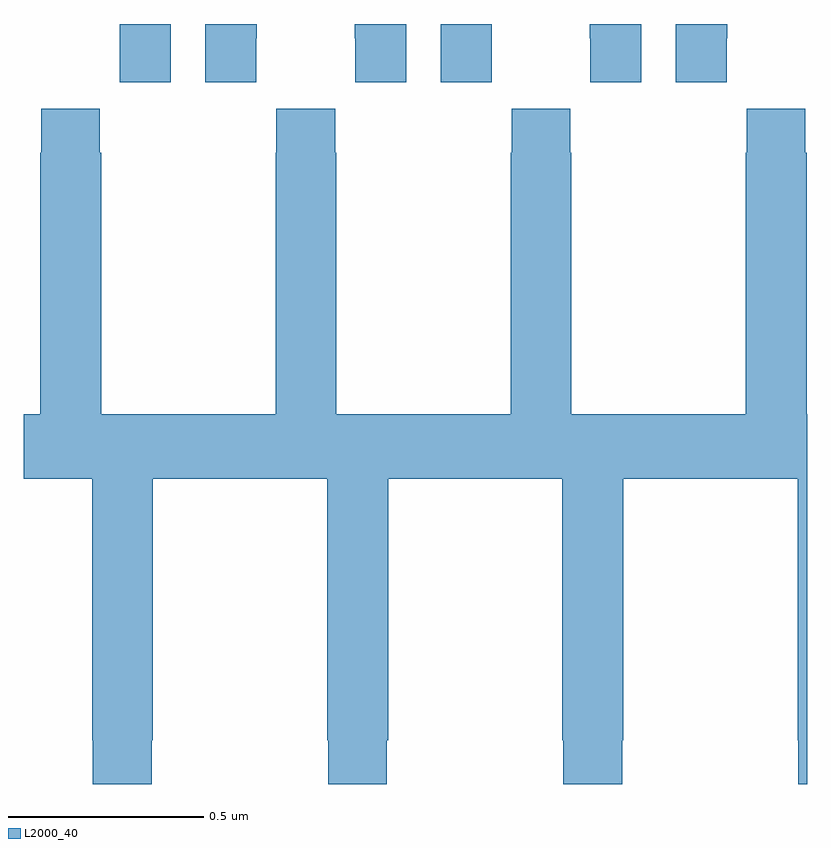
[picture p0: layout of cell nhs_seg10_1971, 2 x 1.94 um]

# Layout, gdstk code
import gdstk
lib = gdstk.Library(unit=1e-6, precision=1e-09)
def P(c, l, *ps):  # polygons
    for p in ps: c.add(gdstk.Polygon(p, *l))
L2000_40 = (2000, 40)

nhs_seg10_1971 = lib.new_cell('nhs_seg10_1971')
P(nhs_seg10_1971, L2000_40, [(135.376,1277.5),(135.245,1277.5),(135.245,1277.464),(135.246,1277.464),(135.246,1277.352),(135.376,1277.352)],
  [(135.594,1277.464),(135.595,1277.464),(135.595,1277.5),(135.464,1277.5),(135.464,1277.352),(135.594,1277.352)],
  [(135.976,1277.5),(135.845,1277.5),(135.845,1277.464),(135.846,1277.464),(135.846,1277.352),(135.976,1277.352)],
  [(136.194,1277.464),(136.195,1277.464),(136.195,1277.5),(136.064,1277.5),(136.064,1277.352),(136.194,1277.352)],
  [(136.576,1277.5),(136.445,1277.5),(136.445,1277.464),(136.446,1277.464),(136.446,1277.352),(136.576,1277.352)],
  [(136.794,1277.464),(136.795,1277.464),(136.795,1277.5),(136.664,1277.5),(136.664,1277.352),(136.794,1277.352)],
  [(135.175,1275.673),(135.177,1275.673),(135.177,1275.561),(135.327,1275.561),(135.327,1275.673),(135.33,1275.673),(135.33,1276.34),(135.775,1276.34),(135.775,1275.673),(135.777,1275.673),(135.777,1275.561),(135.927,1275.561),(135.927,1275.673),(135.93,1275.673),(135.93,1276.34),(136.375,1276.34),(136.375,1275.673),(136.377,1275.673),(136.377,1275.561),(136.527,1275.561),(136.527,1275.673),(136.53,1275.673),(136.53,1276.34),(136.975,1276.34),(136.975,1275.673),(136.977,1275.673),(136.977,1275.561),(137,1275.561),(137,1276.504),(136.998,1276.504),(136.998,1277.171),(136.995,1277.171),(136.995,1277.284),(136.845,1277.284),(136.845,1277.171),(136.843,1277.171),(136.843,1276.504),(136.398,1276.504),(136.398,1277.171),(136.395,1277.171),(136.395,1277.284),(136.245,1277.284),(136.245,1277.171),(136.243,1277.171),(136.243,1276.504),(135.798,1276.504),(135.798,1277.171),(135.795,1277.171),(135.795,1277.284),(135.645,1277.284),(135.645,1277.171),(135.643,1277.171),(135.643,1276.504),(135.198,1276.504),(135.198,1277.171),(135.195,1277.171),(135.195,1277.284),(135.045,1277.284),(135.045,1277.171),(135.043,1277.171),(135.043,1276.504),(135,1276.504),(135,1276.34),(135.175,1276.34)])

lib.write_gds('nhs_seg10_1971.gds')
